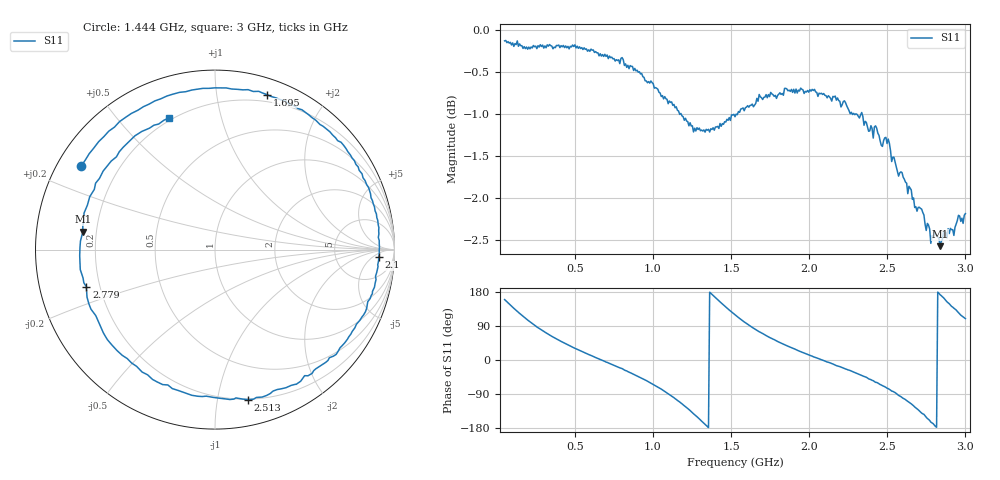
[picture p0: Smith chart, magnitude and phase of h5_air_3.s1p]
! nanovna_capture.py 2026-10-18T19:46:55+0900
! NanoVNA-F_V2 fw 0.6.0 SN 4A3639384505514B
! cal: load open short cal'ed  over 50000000-3000000000 Hz, 201 points
! points 401, avg 4
! 5 mm H loop, tape spacer, free air >=10 cm, capture 3
# HZ S RI R 50
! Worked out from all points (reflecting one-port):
!   401 points, 50 MHz to 3 GHz, reference 50 ohm
!   lowest |S11| = -2.6 dB at 2.838 GHz (marker M1), VSWR 6.78, Z = 7.4 + j3.31 ohm
!   phase of S11 starts at 159 deg and turns -770 deg over the sweep
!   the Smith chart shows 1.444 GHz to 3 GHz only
!   S11 on the Smith chart (normalised r, x): 1.444 GHz: 0.07, +0.29; 1.695 GHz: 0.14, +1.38; 2.1 GHz: 17, -9; 2.513 GHz: 0.20, -1.23; 2.779 GHz: 0.15, -0.14; 3 GHz: 0.19, +0.69
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5e7  -0.9219 0.3457
1.385e8  -0.5696 0.7942
2.19625e8  -0.1443 0.9656
3.08125e8  0.2769 0.9378
4.1875e8  0.6579 0.7217
6.03125e8  0.9525 0.2012
7.875e8  0.8925 -0.3378
8.98125e8  0.7023 -0.6334
1.001375e9  0.4026 -0.8367
1.15625e9  -0.2553 -0.8581
1.23e9  -0.5703 -0.6655
1.311125e9  -0.8252 -0.2797
1.3775e9  -0.8656 0.1057
1.443875e9  -0.7452 0.4662
1.525e9  -0.4295 0.7765
1.606125e9  -0.0675 0.8984
1.694625e9  0.2912 0.863
1.89375e9  0.7851 0.4747
2.10025e9  0.9128 -0.0427
2.2625e9  0.7879 -0.4158
2.358375e9  0.6293 -0.6176
2.51325e9  0.1845 -0.8356
2.63125e9  -0.2625 -0.7541
2.71975e9  -0.5994 -0.502
2.77875e9  -0.7169 -0.2062
2.83775e9  -0.7363 0.1002
2.918875e9  -0.5782 0.4934
3e9  -0.2568 0.7333
